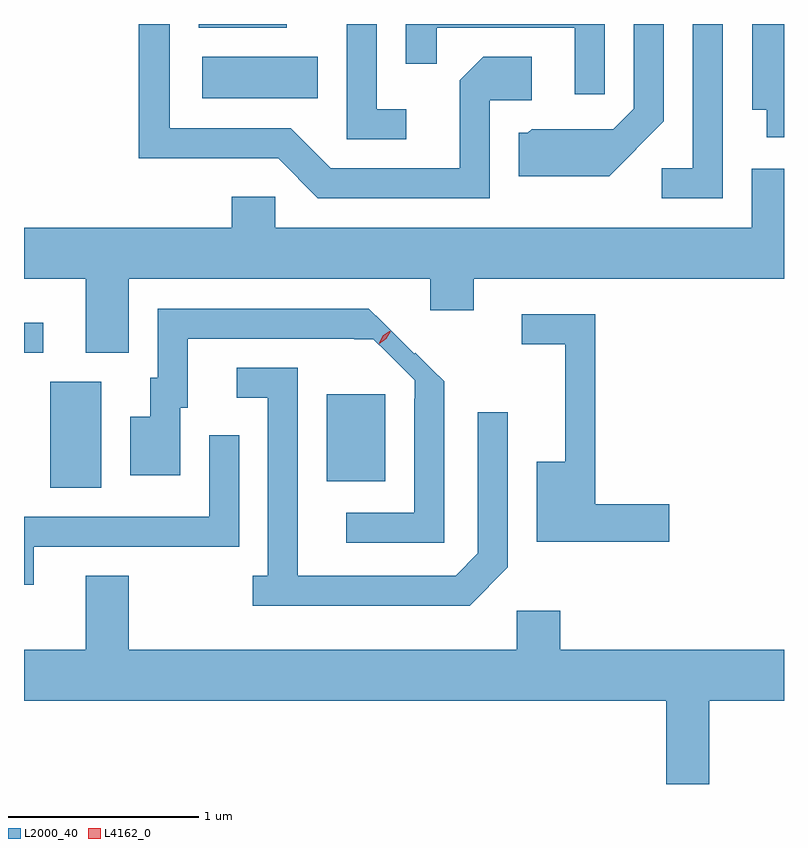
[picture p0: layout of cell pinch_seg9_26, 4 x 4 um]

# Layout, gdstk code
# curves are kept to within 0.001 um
import gdstk
lib = gdstk.Library(unit=1e-6, precision=1e-09)
def R(c, l, rs):  # rectangles x0, y0, x1, y1
    for r in rs: c.add(gdstk.rectangle(r[:2], r[2:], *l))
def P(c, l, *ps):  # polygons
    for p in ps: c.add(gdstk.Polygon(p, *l))
L2000_40 = (2000, 40)
L4162_0 = (4162, 0)

pinch_seg9_26 = lib.new_cell('pinch_seg9_26')
R(pinch_seg9_26, L2000_40, [(1030.336,2008.476,1030.604,2009.034), (1031.791,2008.511,1032.099,2008.969), (1030.197,2009.186,1030.298,2009.344), (1031.136,2010.526,1031.744,2010.744), (1031.116,2010.896,1031.581,2010.917)])
P(pinch_seg9_26, L2000_40, [(1033.564,2010.404),(1033.564,2010.917),(1033.406,2010.917),(1033.406,2010.472),(1033.299,2010.364),(1032.869,2010.364),(1032.849,2010.344),(1032.801,2010.344),(1032.801,2010.116),(1033.277,2010.116)],
  [(1032.649,2010.516),(1032.869,2010.516),(1032.869,2010.744),(1032.613,2010.744),(1032.491,2010.622),(1032.491,2010.159),(1031.812,2010.159),(1031.602,2010.369),(1030.964,2010.369),(1030.964,2010.917),(1030.801,2010.917),(1030.801,2010.211),(1031.534,2010.211),(1031.744,2010.001),(1032.649,2010.001)],
  [(1032.208,2010.469),(1032.054,2010.469),(1032.054,2010.917),(1031.896,2010.917),(1031.896,2010.311),(1032.208,2010.311)],
  [(1034.197,2010.917),(1034.031,2010.917),(1034.031,2010.466),(1034.106,2010.466),(1034.106,2010.321),(1034.197,2010.321)],
  [(1033.254,2010.917),(1032.206,2010.917),(1032.206,2010.708),(1032.369,2010.708),(1032.369,2010.896),(1033.096,2010.896),(1033.096,2010.548),(1033.254,2010.548)],
  [(1033.874,2010.917),(1033.716,2010.917),(1033.716,2010.159),(1033.553,2010.159),(1033.553,2010.001),(1033.874,2010.001)],
  [(1030.749,2009.576),(1032.336,2009.576),(1032.336,2009.411),(1032.564,2009.411),(1032.564,2009.576),(1034.197,2009.576),(1034.197,2010.154),(1034.026,2010.154),(1034.026,2009.844),(1031.519,2009.844),(1031.519,2010.009),(1031.291,2010.009),(1031.291,2009.844),(1030.197,2009.844),(1030.197,2009.576),(1030.521,2009.576),(1030.521,2009.186),(1030.749,2009.186)],
  [(1032.409,2009.036),(1032.344,2009.101),(1032.342,2009.099),(1032.255,2009.186),(1032.25,2009.182),(1032.011,2009.419),(1030.901,2009.419),(1030.901,2009.054),(1030.861,2009.054),(1030.861,2008.849),(1030.756,2008.849),(1030.756,2008.541),(1031.019,2008.541),(1031.019,2008.896),(1031.059,2008.896),(1031.059,2009.261),(1031.935,2009.261),(1031.935,2009.259),(1032.036,2009.259),(1032.254,2009.042),(1032.254,2008.945),(1032.251,2008.945),(1032.251,2008.344),(1031.892,2008.344),(1031.892,2008.186),(1032.409,2008.186)],
  [(1033.594,2008.389),(1033.204,2008.389),(1033.204,2009.389),(1032.818,2009.389),(1032.818,2009.231),(1033.046,2009.231),(1033.046,2008.614),(1032.896,2008.614),(1032.896,2008.191),(1033.594,2008.191)],
  [(1032.744,2008.059),(1032.744,2008.873),(1032.586,2008.873),(1032.586,2008.132),(1032.469,2008.014),(1031.639,2008.014),(1031.639,2009.109),(1031.318,2009.109),(1031.318,2008.951),(1031.481,2008.951),(1031.481,2008.014),(1031.402,2008.014),(1031.402,2007.856),(1032.542,2007.856)],
  [(1030.249,2008.166),(1031.329,2008.166),(1031.329,2008.753),(1031.171,2008.753),(1031.171,2008.324),(1030.197,2008.324),(1030.197,2007.966),(1030.249,2007.966)],
  [(1033.804,2007.356),(1034.197,2007.356),(1034.197,2007.624),(1033.019,2007.624),(1033.019,2007.829),(1032.791,2007.829),(1032.791,2007.624),(1030.749,2007.624),(1030.749,2008.014),(1030.521,2008.014),(1030.521,2007.624),(1030.197,2007.624),(1030.197,2007.356),(1033.576,2007.356),(1033.576,2006.917),(1033.804,2006.917)])
P(pinch_seg9_26, L4162_0, [(1032.064,2009.231),(1032.064,2009.232),(1032.088,2009.273),(1032.126,2009.301),(1032.127,2009.301),(1032.127,2009.3),(1032.103,2009.26),(1032.064,2009.231)],
  [(1032.066,2009.237),(1032.066,2009.238),(1032.086,2009.275),(1032.12,2009.299),(1032.121,2009.299),(1032.121,2009.298),(1032.101,2009.261),(1032.066,2009.237)])

lib.write_gds('pinch_seg9_26.gds')
